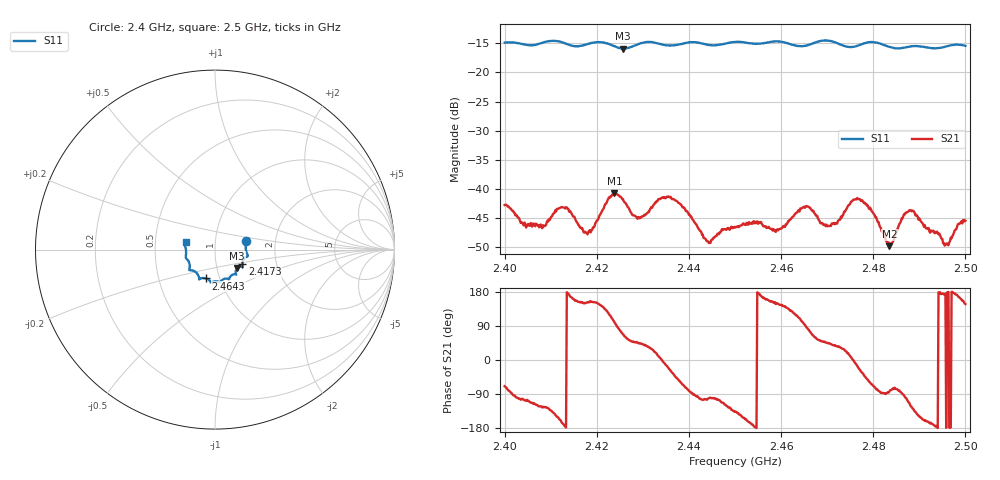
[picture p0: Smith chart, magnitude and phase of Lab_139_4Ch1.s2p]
# Hz S RI R 50
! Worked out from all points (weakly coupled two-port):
!   601 points, 2.4 GHz to 2.5 GHz, reference 50 ohm
!   highest |S21| = -40.78 dB at 2.4238 GHz (marker M1); lowest = -49.9 dB at 2.4835 GHz (marker M2)
!   lowest |S11| = -15.9 dB at 2.4257 GHz (marker M3), VSWR 1.38, Z = 62.5 - j13.2 ohm
!   |S11| at or under -10 dB: start of sweep to end of sweep
!   S12 and S22 are empty: the file has one direction only
!   S11 on the Smith chart (normalised r, x): 2.4 GHz: 1.41, +0.14; 2.4173 GHz: 1.34, -0.22; 2.4643 GHz: 0.86, -0.28; 2.5 GHz: 0.72, +0.06
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2.4e9  0.1733 0.0492  0.00257 -0.00678  0 0  0 0
2.408e9  0.1779 -0.0211  -0.00255 -0.00394  0 0  0 0
2.413167e9  0.1725 -0.042  -0.00675 -0.000518  0 0  0 0
2.416667e9  0.1525 -0.0742  -0.00402 0.00215  0 0  0 0
2.417333e9  0.1518 -0.0817  -0.00367 0.00206  0 0  0 0
2.423833e9  0.1391 -0.0946  -0.00149 0.00902  0 0  0 0
2.425667e9  0.1235 -0.1027  0.00309 0.00757  0 0  0 0
2.429167e9  0.1157 -0.133  0.00408 0.00388  0 0  0 0
2.433333e9  0.1123 -0.1375  0.00799 0.00153  0 0  0 0
2.437833e9  0.083 -0.1528  0.00447 -0.00608  0 0  0 0
2.444167e9  0.0621 -0.1612  -0.000703 -0.00345  0 0  0 0
2.45e9  0.0288 -0.181  -0.00344 -0.00322  0 0  0 0
2.459167e9  -0.023 -0.1836  -0.00387 0.00226  0 0  0 0
2.464333e9  -0.0496 -0.1605  -0.00163 0.00657  0 0  0 0
2.466667e9  -0.0759 -0.1593  0.00242 0.0061  0 0  0 0
2.4705e9  -0.088 -0.1652  0.00346 0.0033  0 0  0 0
2.477e9  -0.1269 -0.1159  0.00743 -0.00341  0 0  0 0
2.483333e9  -0.1405 -0.0896  0.000244 -0.00346  0 0  0 0
2.4835e9  -0.1407 -0.0879  0.000383 -0.00319  0 0  0 0
2.487667e9  -0.1582 -0.052  -0.00238 -0.00595  0 0  0 0
2.495833e9  -0.1664 0.0181  -0.00337 -5.09e-05  0 0  0 0
2.5e9  -0.1638 0.0429  -0.00449 0.00285  0 0  0 0
